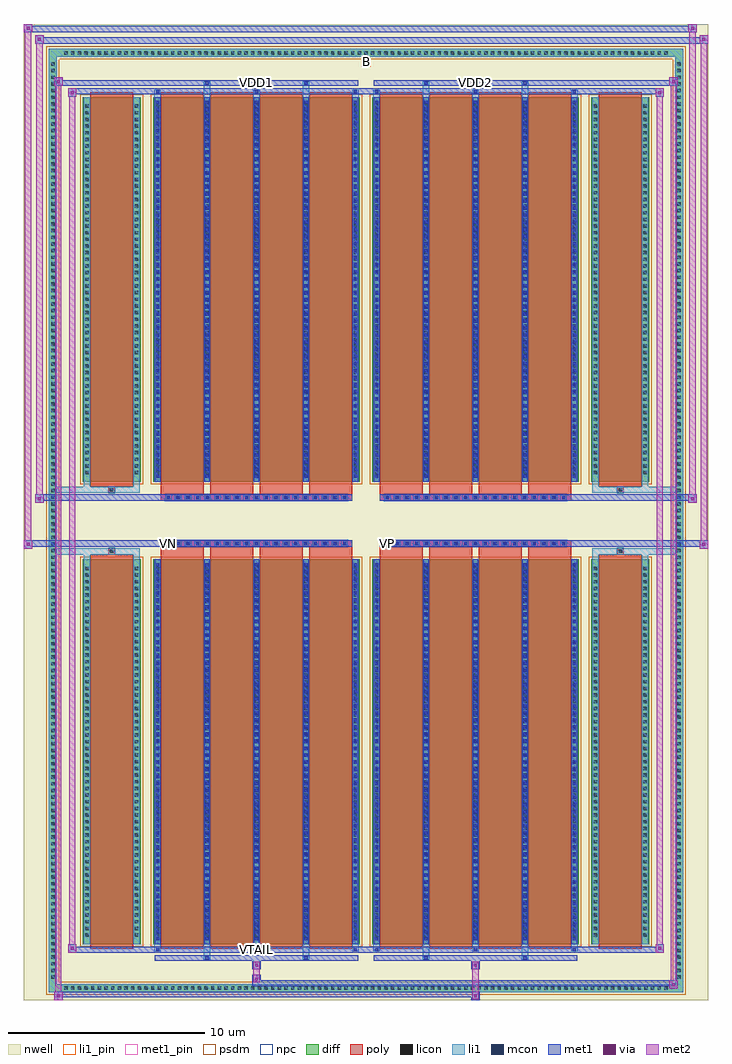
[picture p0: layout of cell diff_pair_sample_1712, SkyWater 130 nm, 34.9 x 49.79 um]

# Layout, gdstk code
import gdstk
lib = gdstk.Library(unit=1e-6, precision=5e-09)
def R(c, l, rs):  # rectangles x0, y0, x1, y1
    for r in rs: c.add(gdstk.rectangle(r[:2], r[2:], *l))
def A(c, l, x, y, w, h, nx, ny, dx, dy):  # array of equal rectangles
    R(c, l, [(x+i*dx, y+j*dy, x+i*dx+w, y+j*dy+h) for i in range(nx) for j in range(ny)])
def P(c, l, *ps):  # polygons
    for p in ps: c.add(gdstk.Polygon(p, *l))
nwell = (64, 20)
diff = (65, 20)
poly = (66, 20)
licon = (66, 44)
li1_pin = (67, 16)
li1 = (67, 20)
mcon = (67, 44)
met1_pin = (68, 16)
met1 = (68, 20)
via = (68, 44)
met2 = (69, 20)
psdm = (94, 20)
npc = (95, 20)

diff_pair_sample_1712 = lib.new_cell('diff_pair_sample_1712')
R(diff_pair_sample_1712, nwell, [(-17.45,-24.46,17.45,25.33), (-14.77,-22.65,-0.01,-0.805), (0.01,-22.65,14.77,-0.805), (-14.77,0.805,-0.01,22.65), (0.01,0.805,14.77,22.65)])
A(diff_pair_sample_1712, diff, -15.505, -24.06, 0.41, 0.41, 91, 2, 0.34, 47.71)
A(diff_pair_sample_1712, diff, -16.18, -23.495, 0.41, 0.41, 1, 138, 0, 0.34)
A(diff_pair_sample_1712, diff, 15.77, -23.495, 0.41, 0.41, 1, 138, 0, 0.34)
R(diff_pair_sample_1712, diff, [(-15.505,-24.06,15.505,-23.65), (-16.18,-23.495,-15.77,23.495), (15.77,-23.495,16.18,23.495), (-14.46,-21.605,-11.49,-1.985), (-10.85,-21.605,-0.32,-1.985), (0.32,-21.605,10.85,-1.985), (11.49,-21.605,14.46,-1.985), (-14.46,1.985,-11.49,21.605), (-10.85,1.985,-0.32,21.605), (0.32,1.985,10.85,21.605), (11.49,1.985,14.46,21.605), (-15.505,23.65,15.505,24.06)])
P(diff_pair_sample_1712, diff, [(16.18,24.06),(-16.18,24.06),(-16.18,-23.65),(-15.77,-23.65),(-15.77,23.65),(15.77,23.65),(15.77,-23.65),(-15.77,-23.65),(-16.18,-23.65),(-16.18,-24.06),(16.18,-24.06)])
A(diff_pair_sample_1712, poly, -10.46, -21.855, 2.19, 20.12, 4, 2, 2.52, 23.59)
A(diff_pair_sample_1712, poly, 0.71, -21.855, 2.19, 20.12, 4, 2, 2.52, 23.59)
A(diff_pair_sample_1712, poly, -10.46, -1.735, 2.19, 0.4, 4, 2, 2.52, 3.07)
A(diff_pair_sample_1712, poly, 0.71, -1.735, 2.19, 0.4, 4, 2, 2.52, 3.07)
A(diff_pair_sample_1712, poly, -10.25, -1.335, 0.33, 0.33, 19, 2, 0.5, 2.34)
A(diff_pair_sample_1712, poly, 0.92, -1.335, 0.33, 0.33, 19, 2, 0.5, 2.34)
R(diff_pair_sample_1712, poly, [(-14.07,-21.855,-11.88,-1.735), (11.88,-21.855,14.07,-1.735), (-13.14,-1.735,-12.81,-1.405), (-13.14,-1.735,-12.81,-1.405), (12.81,-1.735,13.14,-1.405), (12.81,-1.735,13.14,-1.405), (-10.46,-1.335,-0.71,-1.005), (0.71,-1.335,10.46,-1.005), (-10.46,1.005,-0.71,1.335), (0.71,1.005,10.46,1.335), (-13.14,1.405,-12.81,1.735), (-13.14,1.405,-12.81,1.735), (12.81,1.405,13.14,1.735), (12.81,1.405,13.14,1.735), (-14.07,1.735,-11.88,21.855), (11.88,1.735,14.07,21.855)])
A(diff_pair_sample_1712, licon, -15.385, -23.94, 0.17, 0.17, 91, 2, 0.34, 47.71)
A(diff_pair_sample_1712, licon, -16.06, -23.375, 0.17, 0.17, 1, 138, 0, 0.34)
A(diff_pair_sample_1712, licon, 15.89, -23.375, 0.17, 0.17, 1, 138, 0, 0.34)
A(diff_pair_sample_1712, licon, -14.32, -21.23, 0.17, 0.17, 1, 56, 0, 0.34)
A(diff_pair_sample_1712, licon, -11.8, -21.23, 0.17, 0.17, 1, 56, 0, 0.34)
A(diff_pair_sample_1712, licon, -10.71, -21.23, 0.17, 0.17, 5, 56, 2.52, 0.34)
A(diff_pair_sample_1712, licon, 0.46, -21.23, 0.17, 0.17, 5, 56, 2.52, 0.34)
A(diff_pair_sample_1712, licon, 11.63, -21.23, 0.17, 0.17, 1, 56, 0, 0.34)
A(diff_pair_sample_1712, licon, 14.15, -21.23, 0.17, 0.17, 1, 56, 0, 0.34)
A(diff_pair_sample_1712, licon, -10.17, -1.255, 0.17, 0.17, 19, 2, 0.5, 2.34)
A(diff_pair_sample_1712, licon, 1, -1.255, 0.17, 0.17, 19, 2, 0.5, 2.34)
A(diff_pair_sample_1712, licon, -14.32, 2.36, 0.17, 0.17, 1, 56, 0, 0.34)
A(diff_pair_sample_1712, licon, -11.8, 2.36, 0.17, 0.17, 1, 56, 0, 0.34)
A(diff_pair_sample_1712, licon, -10.71, 2.36, 0.17, 0.17, 5, 56, 2.52, 0.34)
A(diff_pair_sample_1712, licon, 0.46, 2.36, 0.17, 0.17, 5, 56, 2.52, 0.34)
A(diff_pair_sample_1712, licon, 11.63, 2.36, 0.17, 0.17, 1, 56, 0, 0.34)
A(diff_pair_sample_1712, licon, 14.15, 2.36, 0.17, 0.17, 1, 56, 0, 0.34)
R(diff_pair_sample_1712, licon, [(-13.06,-1.655,-12.89,-1.485), (12.89,-1.655,13.06,-1.485), (-13.06,1.485,-12.89,1.655), (12.89,1.485,13.06,1.655)])
R(diff_pair_sample_1712, li1_pin, [(-0.25,23.15,0.25,23.65)])
A(diff_pair_sample_1712, li1, -15.465, -24.02, 0.33, 0.33, 91, 2, 0.34, 47.71)
A(diff_pair_sample_1712, li1, -16.14, -23.455, 0.33, 0.33, 1, 138, 0, 0.34)
A(diff_pair_sample_1712, li1, 15.81, -23.455, 0.33, 0.33, 1, 138, 0, 0.34)
A(diff_pair_sample_1712, li1, -10.79, -21.98, 0.33, 0.375, 3, 2, 5.04, 43.585)
A(diff_pair_sample_1712, li1, -10.71, -21.98, 0.17, 0.17, 3, 2, 5.04, 43.79)
A(diff_pair_sample_1712, li1, 0.38, -21.98, 0.33, 0.375, 3, 2, 5.04, 43.585)
A(diff_pair_sample_1712, li1, 0.46, -21.98, 0.17, 0.17, 3, 2, 5.04, 43.79)
A(diff_pair_sample_1712, li1, -10.79, -21.605, 0.33, 19.62, 5, 2, 2.52, 23.59)
A(diff_pair_sample_1712, li1, 0.38, -21.605, 0.33, 19.62, 5, 2, 2.52, 23.59)
A(diff_pair_sample_1712, li1, -10.71, -21.42, 0.17, 0.17, 5, 54, 2.52, 0.36)
A(diff_pair_sample_1712, li1, -10.71, -21.42, 0.17, 19.25, 5, 2, 2.52, 23.59)
A(diff_pair_sample_1712, li1, 0.46, -21.42, 0.17, 0.17, 5, 54, 2.52, 0.36)
A(diff_pair_sample_1712, li1, 0.46, -21.42, 0.17, 19.25, 5, 2, 2.52, 23.59)
A(diff_pair_sample_1712, li1, -14.4, -21.31, 0.33, 0.33, 1, 56, 0, 0.34)
A(diff_pair_sample_1712, li1, -11.88, -21.31, 0.33, 0.33, 1, 56, 0, 0.34)
A(diff_pair_sample_1712, li1, -10.79, -21.31, 0.33, 0.33, 5, 56, 2.52, 0.34)
A(diff_pair_sample_1712, li1, 0.38, -21.31, 0.33, 0.33, 5, 56, 2.52, 0.34)
A(diff_pair_sample_1712, li1, 11.55, -21.31, 0.33, 0.33, 1, 56, 0, 0.34)
A(diff_pair_sample_1712, li1, 14.07, -21.31, 0.33, 0.33, 1, 56, 0, 0.34)
A(diff_pair_sample_1712, li1, -10.25, -1.335, 0.33, 0.33, 19, 2, 0.5, 2.34)
A(diff_pair_sample_1712, li1, 0.92, -1.335, 0.33, 0.33, 19, 2, 0.5, 2.34)
A(diff_pair_sample_1712, li1, -10.71, 2.17, 0.17, 0.17, 5, 54, 2.52, 0.36)
A(diff_pair_sample_1712, li1, 0.46, 2.17, 0.17, 0.17, 5, 54, 2.52, 0.36)
A(diff_pair_sample_1712, li1, -14.4, 2.28, 0.33, 0.33, 1, 56, 0, 0.34)
A(diff_pair_sample_1712, li1, -11.88, 2.28, 0.33, 0.33, 1, 56, 0, 0.34)
A(diff_pair_sample_1712, li1, -10.79, 2.28, 0.33, 0.33, 5, 56, 2.52, 0.34)
A(diff_pair_sample_1712, li1, 0.38, 2.28, 0.33, 0.33, 5, 56, 2.52, 0.34)
A(diff_pair_sample_1712, li1, 11.55, 2.28, 0.33, 0.33, 1, 56, 0, 0.34)
A(diff_pair_sample_1712, li1, 14.07, 2.28, 0.33, 0.33, 1, 56, 0, 0.34)
R(diff_pair_sample_1712, li1, [(-16.18,-24.06,-15.77,-23.65), (-16.18,-24.06,-15.77,-23.65), (-15.77,-24.06,15.77,-23.65), (15.77,-24.06,16.18,-23.65), (15.77,-24.06,16.18,-23.65), (-16.18,-23.65,-15.77,23.65), (15.77,-23.65,16.18,23.65), (-8.27,-22.41,-7.94,-21.605), (-8.19,-22.41,-8.02,-22.24), (-3.23,-22.41,-2.9,-21.605), (-3.15,-22.41,-2.98,-22.24), (2.9,-22.41,3.23,-21.605), (2.98,-22.41,3.15,-22.24), (7.94,-22.41,8.27,-21.605), (8.02,-22.41,8.19,-22.24), (-14.4,-21.605,-14.07,-1.985), (-11.88,-21.605,-11.55,-1.985), (11.55,-21.605,11.88,-1.985), (14.07,-21.605,14.4,-1.985), (-14.4,-1.985,-14.07,-1.405), (-11.88,-1.985,-11.55,-1.405), (11.55,-1.985,11.88,-1.405), (14.07,-1.985,14.4,-1.405), (-16.18,-1.735,-13.14,-1.405), (-14.4,-1.735,-13.14,-1.405), (-13.14,-1.735,-12.81,-1.405), (-12.81,-1.735,-11.55,-1.405), (11.55,-1.735,12.81,-1.405), (12.81,-1.735,13.14,-1.405), (12.81,-1.735,16.18,-1.405), (13.14,-1.735,14.4,-1.405), (-16.18,1.405,-13.14,1.735), (-14.4,1.405,-13.14,1.735), (-14.4,1.405,-14.07,1.985), (-13.14,1.405,-12.81,1.735), (-12.81,1.405,-11.55,1.735), (-11.88,1.405,-11.55,1.985), (11.55,1.405,12.81,1.735), (11.55,1.405,11.88,1.985), (12.81,1.405,13.14,1.735), (12.81,1.405,16.18,1.735), (13.14,1.405,14.4,1.735), (14.07,1.405,14.4,1.985), (-14.4,1.985,-14.07,21.605), (-11.88,1.985,-11.55,21.605), (11.55,1.985,11.88,21.605), (14.07,1.985,14.4,21.605), (-8.27,21.605,-7.94,22.41), (-3.23,21.605,-2.9,22.41), (2.9,21.605,3.23,22.41), (7.94,21.605,8.27,22.41), (-8.19,22.24,-8.02,22.41), (-3.15,22.24,-2.98,22.41), (2.98,22.24,3.15,22.41), (8.02,22.24,8.19,22.41), (-16.18,23.65,-15.77,24.06), (-16.18,23.65,-15.77,24.06), (-15.77,23.65,15.77,24.06), (15.77,23.65,16.18,24.06), (15.77,23.65,16.18,24.06)])
A(diff_pair_sample_1712, mcon, -10.71, -21.98, 0.17, 0.17, 3, 2, 5.04, 43.79)
A(diff_pair_sample_1712, mcon, 0.46, -21.98, 0.17, 0.17, 3, 2, 5.04, 43.79)
A(diff_pair_sample_1712, mcon, -10.71, -21.42, 0.17, 0.17, 5, 54, 2.52, 0.36)
A(diff_pair_sample_1712, mcon, 0.46, -21.42, 0.17, 0.17, 5, 54, 2.52, 0.36)
A(diff_pair_sample_1712, mcon, -10.17, -1.255, 0.17, 0.17, 19, 2, 0.5, 2.34)
A(diff_pair_sample_1712, mcon, 1, -1.255, 0.17, 0.17, 19, 2, 0.5, 2.34)
A(diff_pair_sample_1712, mcon, -10.71, 2.17, 0.17, 0.17, 5, 54, 2.52, 0.36)
A(diff_pair_sample_1712, mcon, 0.46, 2.17, 0.17, 0.17, 5, 54, 2.52, 0.36)
R(diff_pair_sample_1712, mcon, [(-8.19,-22.41,-8.02,-22.24), (-3.15,-22.41,-2.98,-22.24), (2.98,-22.41,3.15,-22.24), (8.02,-22.41,8.19,-22.24), (-8.19,22.24,-8.02,22.41), (-3.15,22.24,-2.98,22.41), (2.98,22.24,3.15,22.41), (8.02,22.24,8.19,22.41)])
R(diff_pair_sample_1712, met1_pin, [(-5.72,-22.02,-5.45,-21.75), (-10.22,-1.295,-9.95,-1.025), (0.95,-1.295,1.22,-1.025), (-5.72,22.2,-5.45,22.47), (5.45,22.2,5.72,22.47)])
A(diff_pair_sample_1712, met1, -10.77, -22.04, 0.29, 0.29, 3, 2, 5.04, 43.79)
A(diff_pair_sample_1712, met1, 0.4, -22.04, 0.29, 0.29, 3, 2, 5.04, 43.79)
A(diff_pair_sample_1712, met1, -10.77, -21.605, 0.29, 19.62, 5, 2, 2.52, 23.59)
A(diff_pair_sample_1712, met1, 0.4, -21.605, 0.29, 19.62, 5, 2, 2.52, 23.59)
A(diff_pair_sample_1712, met1, -10.77, -21.48, 0.29, 0.29, 5, 54, 2.52, 0.36)
A(diff_pair_sample_1712, met1, 0.4, -21.48, 0.29, 0.29, 5, 54, 2.52, 0.36)
A(diff_pair_sample_1712, met1, -10.23, -1.315, 0.29, 0.29, 19, 2, 0.5, 2.34)
A(diff_pair_sample_1712, met1, 0.94, -1.315, 0.29, 0.29, 19, 2, 0.5, 2.34)
A(diff_pair_sample_1712, met1, -10.77, 2.11, 0.29, 0.29, 5, 54, 2.52, 0.36)
A(diff_pair_sample_1712, met1, 0.4, 2.11, 0.29, 0.29, 5, 54, 2.52, 0.36)
R(diff_pair_sample_1712, met1, [(-15.91,-24.46,-15.48,-24.03), (5.37,-24.46,5.8,-24.03), (-15.91,-24.32,5.8,-24.03), (15.48,-23.89,15.91,-23.46), (-5.8,-23.75,15.91,-23.46), (-5.8,-23.61,-5.37,-23.18), (-5.8,-22.9,-5.37,-22.47), (5.37,-22.9,5.8,-22.47), (-10.77,-22.47,-0.4,-22.18), (-8.25,-22.47,-7.96,-22.18), (-3.21,-22.47,-2.92,-22.18), (0.4,-22.47,10.77,-22.18), (2.92,-22.47,3.21,-22.18), (7.96,-22.47,8.25,-22.18), (-15.2,-22.04,-14.77,-21.61), (-15.2,-22.04,-10.77,-21.75), (-10.77,-22.04,-0.4,-21.75), (-0.4,-22.04,0.4,-21.75), (0.4,-22.04,10.77,-21.75), (10.77,-22.04,15.2,-21.75), (14.77,-22.04,15.2,-21.61), (-17.45,-1.435,-17.02,-1.005), (17.02,-1.435,17.45,-1.005), (-17.45,-1.335,-0.71,-1.005), (-10.46,-1.335,-0.71,-1.005), (0.71,-1.335,10.46,-1.005), (0.71,-1.335,17.45,-1.005), (-16.88,0.905,-16.45,1.335), (16.45,0.905,16.88,1.335), (-16.88,1.005,-10.46,1.335), (-10.46,1.005,-0.71,1.335), (0.71,1.005,10.46,1.335), (10.46,1.005,16.88,1.335), (-15.2,21.61,-14.77,22.04), (14.77,21.61,15.2,22.04), (-15.2,21.75,-10.77,22.04), (-10.77,21.75,-0.4,22.04), (-0.4,21.75,0.4,22.04), (0.4,21.75,10.77,22.04), (10.77,21.75,15.2,22.04), (-15.91,22.18,-15.48,22.61), (-15.91,22.18,-10.77,22.47), (-10.77,22.18,-0.4,22.47), (-8.25,22.18,-7.96,22.47), (-3.21,22.18,-2.92,22.47), (0.4,22.18,10.77,22.47), (2.92,22.18,3.21,22.47), (7.96,22.18,8.25,22.47), (10.77,22.18,15.91,22.47), (15.48,22.18,15.91,22.61), (-16.88,24.33,-16.45,24.76), (-16.88,24.33,-14.77,24.66), (-14.77,24.33,14.77,24.66), (14.77,24.33,17.45,24.66), (17.02,24.33,17.45,24.76), (-17.45,24.9,-17.02,25.33), (-17.45,24.9,-14.77,25.23), (-14.77,24.9,14.77,25.23), (14.77,24.9,16.88,25.23), (16.45,24.9,16.88,25.33)])
R(diff_pair_sample_1712, via, [(-15.77,-24.32,-15.62,-24.17), (5.51,-24.32,5.66,-24.17), (15.62,-23.75,15.77,-23.6), (-5.66,-23.47,-5.51,-23.32), (-5.66,-22.76,-5.51,-22.61), (5.51,-22.76,5.66,-22.61), (-15.06,-21.9,-14.91,-21.75), (14.91,-21.9,15.06,-21.75), (-17.31,-1.295,-17.16,-1.145), (17.16,-1.295,17.31,-1.145), (-16.74,1.045,-16.59,1.195), (16.59,1.045,16.74,1.195), (-15.06,21.75,-14.91,21.9), (14.91,21.75,15.06,21.9), (-15.77,22.32,-15.62,22.47), (15.62,22.32,15.77,22.47), (-16.74,24.47,-16.59,24.62), (17.16,24.47,17.31,24.62), (-17.31,25.04,-17.16,25.19), (16.59,25.04,16.74,25.19)])
R(diff_pair_sample_1712, met2, [(-15.91,-24.46,-15.48,-24.03), (-15.84,-24.46,-15.55,22.61), (-15.55,-24.46,-15.48,-24.03), (-15.86,-24.41,-15.53,-24.08), (5.42,-24.41,5.75,-24.08), (5.42,-24.08,5.75,-22.85), (15.48,-23.89,15.91,-23.46), (15.55,-23.89,15.84,22.61), (15.84,-23.89,15.91,-23.46), (15.53,-23.84,15.86,-23.51), (-5.75,-23.56,-5.42,-23.23), (-5.75,-23.23,-5.42,-22.85), (-5.75,-22.85,-5.42,-22.52), (5.42,-22.85,5.75,-22.52), (-15.2,-22.04,-14.77,-21.61), (-15.13,-22.04,-14.84,22.04), (-14.84,-22.04,-14.77,-21.61), (14.77,-22.04,15.2,-21.61), (14.84,-22.04,15.13,22.04), (15.13,-22.04,15.2,-21.61), (-15.15,-21.99,-14.82,-21.66), (14.82,-21.99,15.15,-21.66), (-17.45,-1.435,-17.02,-1.005), (-17.4,-1.435,-17.07,25.33), (-17.07,-1.435,-17.02,-1.005), (17.02,-1.435,17.45,-1.005), (17.07,-1.435,17.4,24.76), (17.4,-1.435,17.45,-1.005), (-17.4,-1.385,-17.07,-1.055), (17.07,-1.385,17.4,-1.055), (-16.88,0.905,-16.45,1.335), (-16.83,0.905,-16.5,24.76), (-16.5,0.905,-16.45,1.335), (16.45,0.905,16.88,1.335), (16.5,0.905,16.83,25.33), (16.83,0.905,16.88,1.335), (-16.83,0.955,-16.5,1.285), (16.5,0.955,16.83,1.285), (-15.2,21.61,-14.77,22.04), (-14.84,21.61,-14.77,22.04), (14.77,21.61,15.2,22.04), (15.13,21.61,15.2,22.04), (-15.15,21.66,-14.82,21.99), (14.82,21.66,15.15,21.99), (-15.91,22.18,-15.48,22.61), (-15.55,22.18,-15.48,22.61), (15.48,22.18,15.91,22.61), (15.84,22.18,15.91,22.61), (-15.86,22.23,-15.53,22.56), (15.53,22.23,15.86,22.56), (-16.88,24.33,-16.45,24.76), (-16.5,24.33,-16.45,24.76), (17.02,24.33,17.45,24.76), (17.4,24.33,17.45,24.76), (-16.83,24.38,-16.5,24.71), (17.07,24.38,17.4,24.71), (-17.45,24.9,-17.02,25.33), (-17.07,24.9,-17.02,25.33), (16.45,24.9,16.88,25.33), (16.83,24.9,16.88,25.33), (-17.4,24.95,-17.07,25.28), (16.5,24.95,16.83,25.28)])
R(diff_pair_sample_1712, psdm, [(-14.59,-21.735,-11.36,-1.855), (-10.98,-21.735,-0.19,-1.855), (0.19,-21.735,10.98,-1.855), (11.36,-21.735,14.59,-1.855), (-14.59,1.855,-11.36,21.735), (-10.98,1.855,-0.19,21.735), (0.19,1.855,10.98,21.735), (11.36,1.855,14.59,21.735)])
P(diff_pair_sample_1712, psdm, [(16.31,24.19),(-16.31,24.19),(-16.31,-23.52),(-15.64,-23.52),(-15.64,23.52),(15.64,23.52),(15.64,-23.52),(-15.64,-23.52),(-16.31,-23.52),(-16.31,-24.19),(16.31,-24.19)])
A(diff_pair_sample_1712, npc, -10.27, -1.355, 0.37, 0.37, 19, 2, 0.5, 2.34)
A(diff_pair_sample_1712, npc, 0.9, -1.355, 0.37, 0.37, 19, 2, 0.5, 2.34)
R(diff_pair_sample_1712, npc, [(-13.16,-1.755,-12.79,-1.385), (12.79,-1.755,13.16,-1.385), (-10.27,-1.355,-9.4,-0.985), (-10.27,-1.355,-9.4,-0.985), (-9.77,-1.355,-8.9,-0.985), (-9.77,-1.355,-8.9,-0.985), (-9.27,-1.355,-8.4,-0.985), (-9.27,-1.355,-8.4,-0.985), (-8.77,-1.355,-7.9,-0.985), (-8.77,-1.355,-7.9,-0.985), (-8.27,-1.355,-7.4,-0.985), (-8.27,-1.355,-7.4,-0.985), (-7.77,-1.355,-6.9,-0.985), (-7.77,-1.355,-6.9,-0.985), (-7.27,-1.355,-6.4,-0.985), (-7.27,-1.355,-6.4,-0.985), (-6.77,-1.355,-5.9,-0.985), (-6.77,-1.355,-5.9,-0.985), (-6.27,-1.355,-5.4,-0.985), (-6.27,-1.355,-5.4,-0.985), (-5.77,-1.355,-4.9,-0.985), (-5.77,-1.355,-4.9,-0.985), (-5.27,-1.355,-4.4,-0.985), (-5.27,-1.355,-4.4,-0.985), (-4.77,-1.355,-3.9,-0.985), (-4.77,-1.355,-3.9,-0.985), (-4.27,-1.355,-3.4,-0.985), (-4.27,-1.355,-3.4,-0.985), (-3.77,-1.355,-2.9,-0.985), (-3.77,-1.355,-2.9,-0.985), (-3.27,-1.355,-2.4,-0.985), (-3.27,-1.355,-2.4,-0.985), (-2.77,-1.355,-1.9,-0.985), (-2.77,-1.355,-1.9,-0.985), (-2.27,-1.355,-1.4,-0.985), (-2.27,-1.355,-1.4,-0.985), (-1.77,-1.355,-0.9,-0.985), (-1.77,-1.355,-0.9,-0.985), (0.9,-1.355,1.77,-0.985), (0.9,-1.355,1.77,-0.985), (1.4,-1.355,2.27,-0.985), (1.4,-1.355,2.27,-0.985), (1.9,-1.355,2.77,-0.985), (1.9,-1.355,2.77,-0.985), (2.4,-1.355,3.27,-0.985), (2.4,-1.355,3.27,-0.985), (2.9,-1.355,3.77,-0.985), (2.9,-1.355,3.77,-0.985), (3.4,-1.355,4.27,-0.985), (3.4,-1.355,4.27,-0.985), (3.9,-1.355,4.77,-0.985), (3.9,-1.355,4.77,-0.985), (4.4,-1.355,5.27,-0.985), (4.4,-1.355,5.27,-0.985), (4.9,-1.355,5.77,-0.985), (4.9,-1.355,5.77,-0.985), (5.4,-1.355,6.27,-0.985), (5.4,-1.355,6.27,-0.985), (5.9,-1.355,6.77,-0.985), (5.9,-1.355,6.77,-0.985), (6.4,-1.355,7.27,-0.985), (6.4,-1.355,7.27,-0.985), (6.9,-1.355,7.77,-0.985), (6.9,-1.355,7.77,-0.985), (7.4,-1.355,8.27,-0.985), (7.4,-1.355,8.27,-0.985), (7.9,-1.355,8.77,-0.985), (7.9,-1.355,8.77,-0.985), (8.4,-1.355,9.27,-0.985), (8.4,-1.355,9.27,-0.985), (8.9,-1.355,9.77,-0.985), (8.9,-1.355,9.77,-0.985), (9.4,-1.355,10.27,-0.985), (9.4,-1.355,10.27,-0.985), (-10.27,0.985,-9.4,1.355), (-10.27,0.985,-9.4,1.355), (-9.77,0.985,-8.9,1.355), (-9.77,0.985,-8.9,1.355), (-9.27,0.985,-8.4,1.355), (-9.27,0.985,-8.4,1.355), (-8.77,0.985,-7.9,1.355), (-8.77,0.985,-7.9,1.355), (-8.27,0.985,-7.4,1.355), (-8.27,0.985,-7.4,1.355), (-7.77,0.985,-6.9,1.355), (-7.77,0.985,-6.9,1.355), (-7.27,0.985,-6.4,1.355), (-7.27,0.985,-6.4,1.355), (-6.77,0.985,-5.9,1.355), (-6.77,0.985,-5.9,1.355), (-6.27,0.985,-5.4,1.355), (-6.27,0.985,-5.4,1.355), (-5.77,0.985,-4.9,1.355), (-5.77,0.985,-4.9,1.355), (-5.27,0.985,-4.4,1.355), (-5.27,0.985,-4.4,1.355), (-4.77,0.985,-3.9,1.355), (-4.77,0.985,-3.9,1.355), (-4.27,0.985,-3.4,1.355), (-4.27,0.985,-3.4,1.355), (-3.77,0.985,-2.9,1.355), (-3.77,0.985,-2.9,1.355), (-3.27,0.985,-2.4,1.355), (-3.27,0.985,-2.4,1.355), (-2.77,0.985,-1.9,1.355), (-2.77,0.985,-1.9,1.355), (-2.27,0.985,-1.4,1.355), (-2.27,0.985,-1.4,1.355), (-1.77,0.985,-0.9,1.355), (-1.77,0.985,-0.9,1.355), (0.9,0.985,1.77,1.355), (0.9,0.985,1.77,1.355), (1.4,0.985,2.27,1.355), (1.4,0.985,2.27,1.355), (1.9,0.985,2.77,1.355), (1.9,0.985,2.77,1.355), (2.4,0.985,3.27,1.355), (2.4,0.985,3.27,1.355), (2.9,0.985,3.77,1.355), (2.9,0.985,3.77,1.355), (3.4,0.985,4.27,1.355), (3.4,0.985,4.27,1.355), (3.9,0.985,4.77,1.355), (3.9,0.985,4.77,1.355), (4.4,0.985,5.27,1.355), (4.4,0.985,5.27,1.355), (4.9,0.985,5.77,1.355), (4.9,0.985,5.77,1.355), (5.4,0.985,6.27,1.355), (5.4,0.985,6.27,1.355), (5.9,0.985,6.77,1.355), (5.9,0.985,6.77,1.355), (6.4,0.985,7.27,1.355), (6.4,0.985,7.27,1.355), (6.9,0.985,7.77,1.355), (6.9,0.985,7.77,1.355), (7.4,0.985,8.27,1.355), (7.4,0.985,8.27,1.355), (7.9,0.985,8.77,1.355), (7.9,0.985,8.77,1.355), (8.4,0.985,9.27,1.355), (8.4,0.985,9.27,1.355), (8.9,0.985,9.77,1.355), (8.9,0.985,9.77,1.355), (9.4,0.985,10.27,1.355), (9.4,0.985,10.27,1.355), (-13.16,1.385,-12.79,1.755), (12.79,1.385,13.16,1.755)])
diff_pair_sample_1712.add(gdstk.Label('VTAIL', (-5.585,-21.885), layer=68, texttype=5))
diff_pair_sample_1712.add(gdstk.Label('VN', (-10.085,-1.16), layer=68, texttype=5))
diff_pair_sample_1712.add(gdstk.Label('VP', (1.085,-1.16), layer=68, texttype=5))
diff_pair_sample_1712.add(gdstk.Label('B', (0,23.4), layer=67, texttype=5))
diff_pair_sample_1712.add(gdstk.Label('VDD2', (5.585,22.335), layer=68, texttype=5))
diff_pair_sample_1712.add(gdstk.Label('VDD1', (-5.585,22.335), layer=68, texttype=5))

lib.write_gds('diff_pair_sample_1712.gds')
